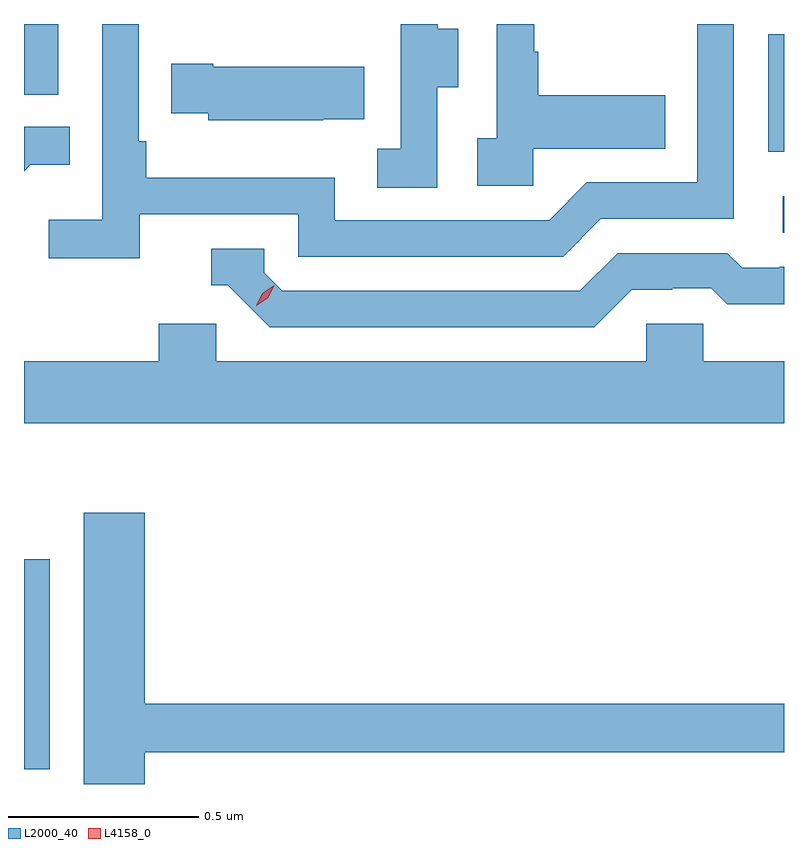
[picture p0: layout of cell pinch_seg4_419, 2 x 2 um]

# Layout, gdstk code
import gdstk
lib = gdstk.Library(unit=1e-6, precision=1e-09)
def R(c, l, rs):  # rectangles x0, y0, x1, y1
    for r in rs: c.add(gdstk.rectangle(r[:2], r[2:], *l))
def P(c, l, *ps):  # polygons
    for p in ps: c.add(gdstk.Polygon(p, *l))
L2000_40 = (2000, 40)
L4158_0 = (4158, 0)

pinch_seg4_419 = lib.new_cell('pinch_seg4_419')
R(pinch_seg4_419, L2000_40, [(974.806,769.27,974.874,769.822), (976.803,770.682,976.806,770.778), (976.764,770.895,976.806,771.204), (974.806,771.045,974.896,771.231)])
P(pinch_seg4_419, L2000_40, [(976.146,770.903),(976.493,770.903),(976.493,771.043),(976.159,771.043),(976.159,771.158),(976.149,771.158),(976.149,771.231),(976.05,771.231),(976.05,770.93),(975.999,770.93),(975.999,770.805),(976.146,770.805)],
  [(975.11,770.73),(975.528,770.73),(975.528,770.619),(976.225,770.619),(976.324,770.718),(976.674,770.718),(976.674,771.231),(976.578,771.231),(976.578,770.814),(976.287,770.814),(976.188,770.715),(975.624,770.715),(975.624,770.827),(975.128,770.827),(975.128,770.923),(975.108,770.923),(975.108,771.231),(975.012,771.231),(975.012,770.716),(974.871,770.716),(974.871,770.614),(975.11,770.614)],
  [(975.894,771.064),(975.949,771.064),(975.949,771.219),(975.895,771.219),(975.895,771.231),(975.797,771.231),(975.797,771.207),(975.798,771.207),(975.798,770.903),(975.735,770.903),(975.735,770.8),(975.894,770.8)],
  [(975.593,770.981),(975.701,770.981),(975.701,771.118),(975.304,771.118),(975.304,771.126),(975.193,771.126),(975.193,770.996),(975.291,770.996),(975.291,770.978),(975.593,770.978)],
  [(974.823,770.861),(974.927,770.861),(974.927,770.96),(974.806,770.96),(974.806,770.844)],
  [(976.405,770.532),(976.512,770.532),(976.512,770.535),(976.615,770.535),(976.657,770.493),(976.806,770.493),(976.806,770.592),(976.795,770.592),(976.795,770.589),(976.696,770.589),(976.657,770.628),(976.368,770.628),(976.269,770.529),(975.486,770.529),(975.438,770.577),(975.438,770.64),(975.299,770.64),(975.299,770.544),(975.342,770.544),(975.453,770.433),(976.306,770.433)],
  [(976.806,770.344),(976.593,770.344),(976.593,770.442),(976.443,770.442),(976.443,770.344),(975.312,770.344),(975.312,770.442),(975.161,770.442),(975.161,770.344),(974.806,770.344),(974.806,770.18),(976.806,770.18)],
  [(975.124,769.314),(976.806,769.314),(976.806,769.442),(975.124,769.442),(975.124,769.945),(974.963,769.945),(974.963,769.231),(975.124,769.231)])
P(pinch_seg4_419, L4158_0, [(975.417,770.489),(975.417,770.489),(975.433,770.522),(975.463,770.542),(975.464,770.542),(975.464,770.542),(975.448,770.509),(975.417,770.489)])

lib.write_gds('pinch_seg4_419.gds')
